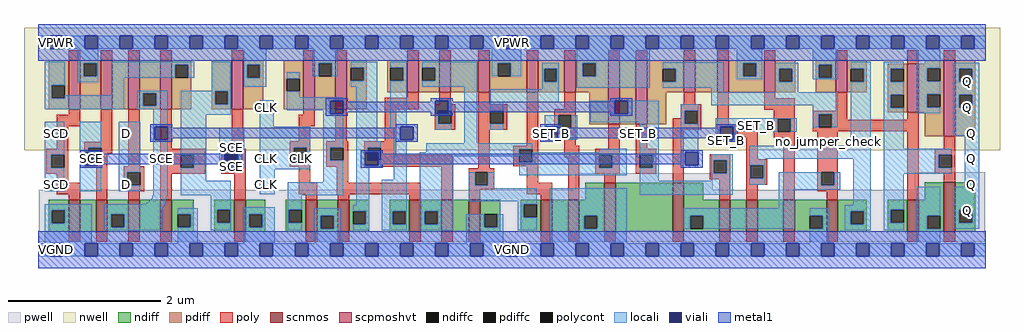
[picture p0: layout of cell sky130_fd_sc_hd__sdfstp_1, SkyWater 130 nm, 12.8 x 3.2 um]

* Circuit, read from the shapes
.subckt sky130_fd_sc_hd__sdfstp_1 CLK D SCD SCE SET_B VGND VNB VPB VPWR Q
XM1 n1 SCD VGND VNB sky130_fd_pr__nfet_01v8 w=0.42 l=0.15
XM2 n2 SCE n1 VNB sky130_fd_pr__nfet_01v8 w=0.42 l=0.15
XM3 n3 D n2 VNB sky130_fd_pr__nfet_01v8 w=0.42 l=0.15
XM4 VGND n4 n3 VNB sky130_fd_pr__nfet_01v8 w=0.42 l=0.15
XM5 VGND SCE n4 VNB sky130_fd_pr__nfet_01v8 w=0.42 l=0.15
XM6 VGND CLK n5 VNB sky130_fd_pr__nfet_01v8 w=0.42 l=0.15
XM7 n6 n5 VGND VNB sky130_fd_pr__nfet_01v8 w=0.42 l=0.15
XM8 n7 n5 n2 VNB sky130_fd_pr__nfet_01v8 w=0.42 l=0.15
XM9 n8 n6 n7 VNB sky130_fd_pr__nfet_01v8 w=0.42 l=0.15
XM10 VGND n9 n8 VNB sky130_fd_pr__nfet_01v8 w=0.42 l=0.15
XM11 n10 n7 n9 VNB sky130_fd_pr__nfet_01v8 w=0.42 l=0.15
XM12 VGND SET_B n10 VNB sky130_fd_pr__nfet_01v8 w=0.42 l=0.15
XM13 n11 n7 VGND VNB sky130_fd_pr__nfet_01v8 w=0.64 l=0.15
XM14 n12 n6 n11 VNB sky130_fd_pr__nfet_01v8 w=0.64 l=0.15
XM15 n13 n5 n12 VNB sky130_fd_pr__nfet_01v8 w=0.42 l=0.15
XM16 n14 n15 n13 VNB sky130_fd_pr__nfet_01v8 w=0.42 l=0.15
XM17 VGND SET_B n14 VNB sky130_fd_pr__nfet_01v8 w=0.42 l=0.15
XM18 n15 n12 VGND VNB sky130_fd_pr__nfet_01v8 w=0.42 l=0.15
XM19 VGND n12 n16 VNB sky130_fd_pr__nfet_01v8 w=0.42 l=0.15
XM20 Q n16 VGND VNB sky130_fd_pr__nfet_01v8 w=0.65 l=0.15
XM21 VPWR SCD n17 VPB sky130_fd_pr__pfet_01v8_hvt w=0.64 l=0.15
XM22 n18 SCE VPWR VPB sky130_fd_pr__pfet_01v8_hvt w=0.64 l=0.15
XM23 n2 D n18 VPB sky130_fd_pr__pfet_01v8_hvt w=0.64 l=0.15
XM24 n17 n4 n2 VPB sky130_fd_pr__pfet_01v8_hvt w=0.64 l=0.15
XM25 VPWR SCE n4 VPB sky130_fd_pr__pfet_01v8_hvt w=0.64 l=0.15
XM26 VPWR CLK n5 VPB sky130_fd_pr__pfet_01v8_hvt w=0.64 l=0.15
XM27 n6 n5 VPWR VPB sky130_fd_pr__pfet_01v8_hvt w=0.64 l=0.15
XM28 n7 n6 n2 VPB sky130_fd_pr__pfet_01v8_hvt w=0.42 l=0.15
XM29 n19 n5 n7 VPB sky130_fd_pr__pfet_01v8_hvt w=0.42 l=0.15
XM30 VPWR n9 n19 VPB sky130_fd_pr__pfet_01v8_hvt w=0.42 l=0.15
XM31 n9 n7 VPWR VPB sky130_fd_pr__pfet_01v8_hvt w=0.42 l=0.15
XM32 VPWR SET_B n9 VPB sky130_fd_pr__pfet_01v8_hvt w=0.42 l=0.15
XM33 n20 n7 VPWR VPB sky130_fd_pr__pfet_01v8_hvt w=0.84 l=0.15
XM34 n12 n5 n20 VPB sky130_fd_pr__pfet_01v8_hvt w=0.84 l=0.15
XM35 n21 n6 n12 VPB sky130_fd_pr__pfet_01v8_hvt w=0.42 l=0.15
XM36 VPWR n15 n21 VPB sky130_fd_pr__pfet_01v8_hvt w=0.42 l=0.15
XM37 n12 SET_B VPWR VPB sky130_fd_pr__pfet_01v8_hvt w=0.42 l=0.15
XM38 n15 n12 VPWR VPB sky130_fd_pr__pfet_01v8_hvt w=0.42 l=0.15
XM39 VPWR n12 n16 VPB sky130_fd_pr__pfet_01v8_hvt w=0.64 l=0.15
XM40 Q n16 VPWR VPB sky130_fd_pr__pfet_01v8_hvt w=1 l=0.15
.ends

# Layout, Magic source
magic
tech sky130A
magscale 1 2
<< nwell >>
rect -38 261 2522 582
<< pwell >>
rect 1408 157 1769 201
rect 2299 157 2483 203
rect 1 21 2483 157
rect 29 -17 63 21
<< scnmos >>
rect 79 47 109 131
rect 151 47 181 131
rect 235 47 265 131
rect 319 47 349 131
rect 513 47 543 131
rect 701 47 731 131
rect 785 47 815 131
rect 973 47 1003 131
rect 1057 47 1087 131
rect 1129 47 1159 131
rect 1317 47 1347 131
rect 1389 47 1419 131
rect 1484 47 1514 175
rect 1663 47 1693 175
rect 1785 47 1815 131
rect 1857 47 1887 131
rect 1953 47 1983 131
rect 2067 47 2097 131
rect 2279 47 2309 131
rect 2375 47 2405 177
<< scpmoshvt >>
rect 79 369 109 497
rect 163 369 193 497
rect 235 369 265 497
rect 319 369 349 497
rect 507 369 537 497
rect 695 369 725 497
rect 779 369 809 497
rect 967 413 997 497
rect 1051 413 1081 497
rect 1153 413 1183 497
rect 1281 413 1311 497
rect 1379 413 1409 497
rect 1495 329 1525 497
rect 1567 329 1597 497
rect 1693 413 1723 497
rect 1781 413 1811 497
rect 1903 413 1933 497
rect 2091 413 2121 497
rect 2279 360 2309 488
rect 2375 297 2405 497
<< ndiff >>
rect 1434 131 1484 175
rect 27 103 79 131
rect 27 69 35 103
rect 69 69 79 103
rect 27 47 79 69
rect 109 47 151 131
rect 181 93 235 131
rect 181 59 191 93
rect 225 59 235 93
rect 181 47 235 59
rect 265 47 319 131
rect 349 93 407 131
rect 349 59 365 93
rect 399 59 407 93
rect 349 47 407 59
rect 461 105 513 131
rect 461 71 469 105
rect 503 71 513 105
rect 461 47 513 71
rect 543 93 595 131
rect 543 59 553 93
rect 587 59 595 93
rect 543 47 595 59
rect 649 105 701 131
rect 649 71 657 105
rect 691 71 701 105
rect 649 47 701 71
rect 731 89 785 131
rect 731 55 741 89
rect 775 55 785 89
rect 731 47 785 55
rect 815 101 867 131
rect 815 67 825 101
rect 859 67 867 101
rect 815 47 867 67
rect 921 101 973 131
rect 921 67 929 101
rect 963 67 973 101
rect 921 47 973 67
rect 1003 101 1057 131
rect 1003 67 1013 101
rect 1047 67 1057 101
rect 1003 47 1057 67
rect 1087 47 1129 131
rect 1159 93 1211 131
rect 1159 59 1169 93
rect 1203 59 1211 93
rect 1159 47 1211 59
rect 1265 119 1317 131
rect 1265 85 1273 119
rect 1307 85 1317 119
rect 1265 47 1317 85
rect 1347 47 1389 131
rect 1419 89 1484 131
rect 1419 55 1431 89
rect 1465 55 1484 89
rect 1419 47 1484 55
rect 1514 47 1663 175
rect 1693 131 1743 175
rect 2325 131 2375 177
rect 1693 89 1785 131
rect 1693 55 1709 89
rect 1743 55 1785 89
rect 1693 47 1785 55
rect 1815 47 1857 131
rect 1887 47 1953 131
rect 1983 89 2067 131
rect 1983 55 2023 89
rect 2057 55 2067 89
rect 1983 47 2067 55
rect 2097 101 2173 131
rect 2097 67 2131 101
rect 2165 67 2173 101
rect 2097 47 2173 67
rect 2227 105 2279 131
rect 2227 71 2235 105
rect 2269 71 2279 105
rect 2227 47 2279 71
rect 2309 89 2375 131
rect 2309 55 2331 89
rect 2365 55 2375 89
rect 2309 47 2375 55
rect 2405 105 2457 177
rect 2405 71 2415 105
rect 2449 71 2457 105
rect 2405 47 2457 71
<< pdiff >>
rect 27 431 79 497
rect 27 397 35 431
rect 69 397 79 431
rect 27 369 79 397
rect 109 489 163 497
rect 109 455 119 489
rect 153 455 163 489
rect 109 369 163 455
rect 193 369 235 497
rect 265 411 319 497
rect 265 377 275 411
rect 309 377 319 411
rect 265 369 319 377
rect 349 485 401 497
rect 349 451 359 485
rect 393 451 401 485
rect 349 369 401 451
rect 455 415 507 497
rect 455 381 463 415
rect 497 381 507 415
rect 455 369 507 381
rect 537 485 589 497
rect 537 451 547 485
rect 581 451 589 485
rect 537 369 589 451
rect 643 449 695 497
rect 643 415 651 449
rect 685 415 695 449
rect 643 369 695 415
rect 725 489 779 497
rect 725 455 735 489
rect 769 455 779 489
rect 725 369 779 455
rect 809 477 861 497
rect 809 443 819 477
rect 853 443 861 477
rect 809 369 861 443
rect 915 477 967 497
rect 915 443 923 477
rect 957 443 967 477
rect 915 413 967 443
rect 997 477 1051 497
rect 997 443 1007 477
rect 1041 443 1051 477
rect 997 413 1051 443
rect 1081 413 1153 497
rect 1183 489 1281 497
rect 1183 455 1205 489
rect 1239 455 1281 489
rect 1183 413 1281 455
rect 1311 474 1379 497
rect 1311 440 1326 474
rect 1360 440 1379 474
rect 1311 413 1379 440
rect 1409 489 1495 497
rect 1409 455 1428 489
rect 1462 455 1495 489
rect 1409 413 1495 455
rect 1445 329 1495 413
rect 1525 329 1567 497
rect 1597 475 1693 497
rect 1597 441 1637 475
rect 1671 441 1693 475
rect 1597 413 1693 441
rect 1723 413 1781 497
rect 1811 489 1903 497
rect 1811 455 1848 489
rect 1882 455 1903 489
rect 1811 413 1903 455
rect 1933 474 1985 497
rect 1933 440 1943 474
rect 1977 440 1985 474
rect 1933 413 1985 440
rect 2039 485 2091 497
rect 2039 451 2047 485
rect 2081 451 2091 485
rect 2039 413 2091 451
rect 2121 474 2173 497
rect 2325 488 2375 497
rect 2121 440 2131 474
rect 2165 440 2173 474
rect 2121 413 2173 440
rect 2227 474 2279 488
rect 2227 440 2235 474
rect 2269 440 2279 474
rect 1597 329 1647 413
rect 2227 406 2279 440
rect 2227 372 2235 406
rect 2269 372 2279 406
rect 2227 360 2279 372
rect 2309 476 2375 488
rect 2309 442 2331 476
rect 2365 442 2375 476
rect 2309 408 2375 442
rect 2309 374 2331 408
rect 2365 374 2375 408
rect 2309 360 2375 374
rect 2325 297 2375 360
rect 2405 474 2457 497
rect 2405 440 2415 474
rect 2449 440 2457 474
rect 2405 406 2457 440
rect 2405 372 2415 406
rect 2449 372 2457 406
rect 2405 297 2457 372
<< ndiffc >>
rect 35 69 69 103
rect 191 59 225 93
rect 365 59 399 93
rect 469 71 503 105
rect 553 59 587 93
rect 657 71 691 105
rect 741 55 775 89
rect 825 67 859 101
rect 929 67 963 101
rect 1013 67 1047 101
rect 1169 59 1203 93
rect 1273 85 1307 119
rect 1431 55 1465 89
rect 1709 55 1743 89
rect 2023 55 2057 89
rect 2131 67 2165 101
rect 2235 71 2269 105
rect 2331 55 2365 89
rect 2415 71 2449 105
<< pdiffc >>
rect 35 397 69 431
rect 119 455 153 489
rect 275 377 309 411
rect 359 451 393 485
rect 463 381 497 415
rect 547 451 581 485
rect 651 415 685 449
rect 735 455 769 489
rect 819 443 853 477
rect 923 443 957 477
rect 1007 443 1041 477
rect 1205 455 1239 489
rect 1326 440 1360 474
rect 1428 455 1462 489
rect 1637 441 1671 475
rect 1848 455 1882 489
rect 1943 440 1977 474
rect 2047 451 2081 485
rect 2131 440 2165 474
rect 2235 440 2269 474
rect 2235 372 2269 406
rect 2331 442 2365 476
rect 2331 374 2365 408
rect 2415 440 2449 474
rect 2415 372 2449 406
<< poly >>
rect 79 497 109 523
rect 163 497 193 523
rect 235 497 265 523
rect 319 497 349 523
rect 507 497 537 523
rect 695 497 725 523
rect 779 497 809 523
rect 967 497 997 523
rect 1051 497 1081 523
rect 1153 497 1183 523
rect 1281 497 1311 523
rect 1379 497 1409 523
rect 1495 497 1525 523
rect 1567 497 1597 523
rect 1693 497 1723 523
rect 1781 497 1811 523
rect 1903 497 1933 523
rect 2091 497 2121 523
rect 967 398 997 413
rect 79 354 109 369
rect 48 324 109 354
rect 48 265 78 324
rect 163 283 193 369
rect 21 249 78 265
rect 21 215 34 249
rect 68 215 78 249
rect 120 267 193 283
rect 120 233 130 267
rect 164 253 193 267
rect 164 233 181 253
rect 120 217 181 233
rect 235 219 265 369
rect 319 265 349 369
rect 507 265 537 369
rect 695 354 725 369
rect 683 324 725 354
rect 683 284 713 324
rect 779 284 809 369
rect 908 368 997 398
rect 1051 381 1081 413
rect 1153 381 1183 413
rect 908 284 938 368
rect 1039 365 1093 381
rect 1039 331 1049 365
rect 1083 331 1093 365
rect 1039 315 1093 331
rect 1153 365 1229 381
rect 1153 331 1185 365
rect 1219 331 1229 365
rect 1153 315 1229 331
rect 659 268 713 284
rect 319 249 438 265
rect 21 199 78 215
rect 48 176 78 199
rect 48 146 109 176
rect 79 131 109 146
rect 151 131 181 217
rect 223 203 277 219
rect 223 169 233 203
rect 267 169 277 203
rect 223 153 277 169
rect 319 215 373 249
rect 407 215 438 249
rect 319 199 438 215
rect 480 249 543 265
rect 480 215 490 249
rect 524 215 543 249
rect 659 234 669 268
rect 703 234 713 268
rect 659 218 713 234
rect 755 268 812 284
rect 755 234 765 268
rect 799 234 812 268
rect 755 218 812 234
rect 854 268 938 284
rect 854 234 864 268
rect 898 248 938 268
rect 898 234 1087 248
rect 854 218 1087 234
rect 480 199 543 215
rect 235 131 265 153
rect 319 131 349 199
rect 513 131 543 199
rect 683 176 713 218
rect 782 176 812 218
rect 683 146 731 176
rect 782 146 1003 176
rect 701 131 731 146
rect 785 131 815 146
rect 973 131 1003 146
rect 1057 131 1087 218
rect 1153 213 1183 315
rect 1281 273 1311 413
rect 1379 369 1409 413
rect 1353 353 1409 369
rect 1353 319 1363 353
rect 1397 319 1409 353
rect 2279 488 2309 523
rect 2375 497 2405 523
rect 1693 381 1723 413
rect 1685 365 1739 381
rect 1685 345 1695 365
rect 1663 331 1695 345
rect 1729 331 1739 365
rect 1353 303 1409 319
rect 1245 263 1311 273
rect 1245 229 1261 263
rect 1295 229 1311 263
rect 1379 273 1409 303
rect 1379 243 1419 273
rect 1495 265 1525 329
rect 1245 219 1311 229
rect 1129 203 1195 213
rect 1129 169 1145 203
rect 1179 169 1195 203
rect 1129 159 1195 169
rect 1281 176 1311 219
rect 1129 131 1159 159
rect 1281 146 1347 176
rect 1317 131 1347 146
rect 1389 131 1419 243
rect 1461 249 1525 265
rect 1461 215 1471 249
rect 1505 215 1525 249
rect 1461 199 1525 215
rect 1567 265 1597 329
rect 1663 315 1739 331
rect 1781 325 1811 413
rect 1903 397 1933 413
rect 1903 367 1983 397
rect 1929 343 1983 367
rect 2091 365 2121 413
rect 1567 249 1621 265
rect 1567 215 1577 249
rect 1611 215 1621 249
rect 1567 199 1621 215
rect 1484 175 1514 199
rect 1663 175 1693 315
rect 1781 295 1887 325
rect 1761 235 1815 251
rect 1761 201 1771 235
rect 1805 201 1815 235
rect 1761 185 1815 201
rect 1785 131 1815 185
rect 1857 237 1887 295
rect 1929 309 1939 343
rect 1973 309 1983 343
rect 2031 355 2121 365
rect 2031 321 2047 355
rect 2081 341 2121 355
rect 2279 341 2309 360
rect 2081 321 2309 341
rect 2031 311 2309 321
rect 1929 293 1983 309
rect 1857 221 1911 237
rect 1857 187 1867 221
rect 1901 187 1911 221
rect 1857 171 1911 187
rect 1857 131 1887 171
rect 1953 131 1983 293
rect 2043 203 2097 311
rect 2043 169 2053 203
rect 2087 169 2097 203
rect 2043 153 2097 169
rect 2067 131 2097 153
rect 2279 131 2309 311
rect 2375 265 2405 297
rect 2351 249 2405 265
rect 2351 215 2361 249
rect 2395 215 2405 249
rect 2351 199 2405 215
rect 2375 177 2405 199
rect 79 21 109 47
rect 151 21 181 47
rect 235 21 265 47
rect 319 21 349 47
rect 513 21 543 47
rect 701 21 731 47
rect 785 21 815 47
rect 973 21 1003 47
rect 1057 21 1087 47
rect 1129 21 1159 47
rect 1317 21 1347 47
rect 1389 21 1419 47
rect 1484 21 1514 47
rect 1663 21 1693 47
rect 1785 21 1815 47
rect 1857 21 1887 47
rect 1953 21 1983 47
rect 2067 21 2097 47
rect 2279 21 2309 47
rect 2375 21 2405 47
<< polycont >>
rect 34 215 68 249
rect 130 233 164 267
rect 1049 331 1083 365
rect 1185 331 1219 365
rect 233 169 267 203
rect 373 215 407 249
rect 490 215 524 249
rect 669 234 703 268
rect 765 234 799 268
rect 864 234 898 268
rect 1363 319 1397 353
rect 1695 331 1729 365
rect 1261 229 1295 263
rect 1145 169 1179 203
rect 1471 215 1505 249
rect 1577 215 1611 249
rect 1771 201 1805 235
rect 1939 309 1973 343
rect 2047 321 2081 355
rect 1867 187 1901 221
rect 2053 169 2087 203
rect 2361 215 2395 249
<< locali >>
rect 0 527 29 561
rect 63 527 121 561
rect 155 527 213 561
rect 247 527 305 561
rect 339 527 397 561
rect 431 527 489 561
rect 523 527 581 561
rect 615 527 673 561
rect 707 527 765 561
rect 799 527 857 561
rect 891 527 949 561
rect 983 527 1041 561
rect 1075 527 1133 561
rect 1167 527 1225 561
rect 1259 527 1317 561
rect 1351 527 1409 561
rect 1443 527 1501 561
rect 1535 527 1593 561
rect 1627 527 1685 561
rect 1719 527 1777 561
rect 1811 527 1869 561
rect 1903 527 1961 561
rect 1995 527 2053 561
rect 2087 527 2145 561
rect 2179 527 2237 561
rect 2271 527 2329 561
rect 2363 527 2421 561
rect 2455 527 2484 561
rect 17 431 69 493
rect 103 489 157 527
rect 103 455 119 489
rect 153 455 157 489
rect 103 439 157 455
rect 191 485 409 493
rect 191 451 359 485
rect 393 451 409 485
rect 17 397 35 431
rect 191 405 225 451
rect 454 417 504 493
rect 538 485 597 527
rect 538 451 547 485
rect 581 451 597 485
rect 719 489 785 527
rect 538 428 597 451
rect 651 449 685 465
rect 719 455 735 489
rect 769 455 785 489
rect 819 477 888 493
rect 69 397 225 405
rect 17 369 225 397
rect 259 411 339 417
rect 259 377 275 411
rect 309 377 339 411
rect 259 369 339 377
rect 17 249 68 335
rect 17 215 34 249
rect 17 153 68 215
rect 108 267 164 335
rect 108 255 130 267
rect 108 221 121 255
rect 155 221 164 233
rect 108 153 164 221
rect 210 203 267 335
rect 210 169 233 203
rect 210 153 267 169
rect 301 323 339 369
rect 301 289 305 323
rect 301 142 339 289
rect 373 415 504 417
rect 373 381 463 415
rect 497 381 504 415
rect 853 443 888 477
rect 819 427 888 443
rect 651 400 685 415
rect 651 398 797 400
rect 373 354 504 381
rect 373 249 440 354
rect 581 323 617 392
rect 651 391 799 398
rect 651 366 765 391
rect 747 357 765 366
rect 407 215 440 249
rect 474 255 540 320
rect 474 221 489 255
rect 523 249 540 255
rect 474 215 490 221
rect 524 215 540 249
rect 581 268 713 323
rect 581 234 669 268
rect 703 234 713 268
rect 373 181 440 215
rect 581 211 713 234
rect 747 268 799 357
rect 747 234 765 268
rect 373 143 504 181
rect 581 145 620 211
rect 747 177 799 234
rect 301 141 335 142
rect 299 133 335 141
rect 295 132 335 133
rect 295 129 334 132
rect 292 127 333 129
rect 289 126 333 127
rect 288 124 333 126
rect 286 123 332 124
rect 284 122 332 123
rect 281 121 332 122
rect 279 120 332 121
rect 276 119 332 120
rect 17 103 140 119
rect 17 69 35 103
rect 69 69 140 103
rect 17 17 140 69
rect 174 115 330 119
rect 174 111 328 115
rect 174 93 325 111
rect 174 59 191 93
rect 225 59 325 93
rect 174 51 325 59
rect 365 93 418 109
rect 399 59 418 93
rect 365 17 418 59
rect 452 105 504 143
rect 654 143 799 177
rect 833 284 888 427
rect 923 477 966 493
rect 957 443 966 477
rect 923 323 966 443
rect 1007 477 1151 493
rect 1041 443 1151 477
rect 1189 489 1266 527
rect 1189 455 1205 489
rect 1239 455 1266 489
rect 1321 474 1364 490
rect 1007 427 1151 443
rect 1075 365 1083 391
rect 1041 331 1049 357
rect 923 318 949 323
rect 932 289 949 318
rect 1041 315 1083 331
rect 833 268 898 284
rect 833 255 864 268
rect 833 221 857 255
rect 891 221 898 234
rect 833 218 898 221
rect 452 71 469 105
rect 503 71 504 105
rect 452 51 504 71
rect 538 93 620 111
rect 538 59 553 93
rect 587 59 620 93
rect 538 17 620 59
rect 654 105 691 143
rect 833 117 867 218
rect 932 184 966 289
rect 1117 279 1151 427
rect 1321 440 1326 474
rect 1360 440 1364 474
rect 1321 421 1364 440
rect 1412 489 1603 527
rect 1412 455 1428 489
rect 1462 455 1603 489
rect 1412 425 1603 455
rect 1637 475 1798 492
rect 1671 441 1798 475
rect 1832 489 1898 527
rect 1832 455 1848 489
rect 1882 455 1898 489
rect 1832 447 1898 455
rect 1932 474 1993 490
rect 1637 425 1798 441
rect 1185 387 1364 421
rect 1764 413 1798 425
rect 1932 440 1943 474
rect 1977 440 1993 474
rect 2031 485 2097 527
rect 2031 451 2047 485
rect 2081 451 2097 485
rect 2031 447 2097 451
rect 2131 474 2183 493
rect 1932 413 1993 440
rect 2165 440 2183 474
rect 1185 365 1219 387
rect 1447 357 1512 391
rect 1546 357 1627 391
rect 1185 315 1219 331
rect 1328 323 1363 353
rect 1362 319 1363 323
rect 1397 319 1413 353
rect 1447 334 1627 357
rect 1362 289 1413 319
rect 1017 263 1295 279
rect 1017 255 1261 263
rect 654 71 657 105
rect 654 51 691 71
rect 725 89 791 109
rect 725 55 741 89
rect 775 55 791 89
rect 725 17 791 55
rect 825 101 867 117
rect 859 67 867 101
rect 825 51 867 67
rect 901 101 966 184
rect 901 67 929 101
rect 963 67 966 101
rect 901 51 966 67
rect 1000 245 1261 255
rect 1000 101 1088 245
rect 1471 255 1543 265
rect 1295 249 1543 255
rect 1295 229 1471 249
rect 1261 215 1471 229
rect 1505 215 1543 249
rect 1129 169 1145 203
rect 1179 169 1195 203
rect 1261 195 1543 215
rect 1577 249 1627 334
rect 1611 215 1627 249
rect 1685 365 1730 381
rect 1764 379 2097 413
rect 1685 331 1695 365
rect 1729 331 1730 365
rect 2031 355 2097 379
rect 1685 255 1730 331
rect 1776 343 1989 345
rect 1776 323 1939 343
rect 1776 289 1788 323
rect 1822 309 1939 323
rect 1973 309 1989 343
rect 2031 321 2047 355
rect 2081 321 2097 355
rect 1822 289 1827 309
rect 1776 285 1827 289
rect 2131 273 2183 440
rect 1685 221 1696 255
rect 1685 215 1730 221
rect 1764 235 1821 251
rect 1129 161 1195 169
rect 1577 181 1627 215
rect 1764 201 1771 235
rect 1805 201 1821 235
rect 1764 181 1821 201
rect 1129 127 1307 161
rect 1000 67 1013 101
rect 1047 67 1088 101
rect 1257 119 1307 127
rect 1000 51 1088 67
rect 1122 59 1169 93
rect 1203 59 1219 93
rect 1122 17 1219 59
rect 1257 85 1273 119
rect 1257 51 1307 85
rect 1341 89 1543 161
rect 1577 144 1821 181
rect 1864 239 2183 273
rect 1864 221 1906 239
rect 1864 187 1867 221
rect 1901 187 1906 221
rect 1864 171 1906 187
rect 1942 169 2053 203
rect 2087 169 2103 203
rect 1942 157 2103 169
rect 1942 109 1982 157
rect 2137 117 2183 239
rect 1341 55 1431 89
rect 1465 55 1543 89
rect 1693 89 1982 109
rect 1693 55 1709 89
rect 1743 55 1982 89
rect 2023 89 2073 109
rect 2057 55 2073 89
rect 1341 17 1543 55
rect 2023 17 2073 55
rect 2115 101 2183 117
rect 2115 67 2131 101
rect 2165 67 2183 101
rect 2115 51 2183 67
rect 2217 474 2269 493
rect 2217 440 2235 474
rect 2217 406 2269 440
rect 2217 372 2235 406
rect 2217 265 2269 372
rect 2303 476 2365 527
rect 2303 442 2331 476
rect 2303 408 2365 442
rect 2303 374 2331 408
rect 2303 358 2365 374
rect 2399 474 2467 490
rect 2399 440 2415 474
rect 2449 440 2467 474
rect 2399 406 2467 440
rect 2399 372 2415 406
rect 2449 372 2467 406
rect 2399 299 2467 372
rect 2217 249 2395 265
rect 2217 215 2361 249
rect 2217 199 2395 215
rect 2217 105 2269 199
rect 2429 165 2467 299
rect 2217 71 2235 105
rect 2217 51 2269 71
rect 2303 89 2365 165
rect 2303 55 2331 89
rect 2399 105 2467 165
rect 2399 71 2415 105
rect 2449 71 2467 105
rect 2399 55 2467 71
rect 2303 17 2365 55
rect 0 -17 29 17
rect 63 -17 121 17
rect 155 -17 213 17
rect 247 -17 305 17
rect 339 -17 397 17
rect 431 -17 489 17
rect 523 -17 581 17
rect 615 -17 673 17
rect 707 -17 765 17
rect 799 -17 857 17
rect 891 -17 949 17
rect 983 -17 1041 17
rect 1075 -17 1133 17
rect 1167 -17 1225 17
rect 1259 -17 1317 17
rect 1351 -17 1409 17
rect 1443 -17 1501 17
rect 1535 -17 1593 17
rect 1627 -17 1685 17
rect 1719 -17 1777 17
rect 1811 -17 1869 17
rect 1903 -17 1961 17
rect 1995 -17 2053 17
rect 2087 -17 2145 17
rect 2179 -17 2237 17
rect 2271 -17 2329 17
rect 2363 -17 2421 17
rect 2455 -17 2484 17
<< viali >>
rect 29 527 63 561
rect 121 527 155 561
rect 213 527 247 561
rect 305 527 339 561
rect 397 527 431 561
rect 489 527 523 561
rect 581 527 615 561
rect 673 527 707 561
rect 765 527 799 561
rect 857 527 891 561
rect 949 527 983 561
rect 1041 527 1075 561
rect 1133 527 1167 561
rect 1225 527 1259 561
rect 1317 527 1351 561
rect 1409 527 1443 561
rect 1501 527 1535 561
rect 1593 527 1627 561
rect 1685 527 1719 561
rect 1777 527 1811 561
rect 1869 527 1903 561
rect 1961 527 1995 561
rect 2053 527 2087 561
rect 2145 527 2179 561
rect 2237 527 2271 561
rect 2329 527 2363 561
rect 2421 527 2455 561
rect 121 233 130 255
rect 130 233 155 255
rect 121 221 155 233
rect 305 289 339 323
rect 765 357 799 391
rect 489 249 523 255
rect 489 221 490 249
rect 490 221 523 249
rect 1041 365 1075 391
rect 1041 357 1049 365
rect 1049 357 1075 365
rect 949 289 983 323
rect 857 234 864 255
rect 864 234 891 255
rect 857 221 891 234
rect 1512 357 1546 391
rect 1328 289 1362 323
rect 1788 289 1822 323
rect 1696 221 1730 255
rect 29 -17 63 17
rect 121 -17 155 17
rect 213 -17 247 17
rect 305 -17 339 17
rect 397 -17 431 17
rect 489 -17 523 17
rect 581 -17 615 17
rect 673 -17 707 17
rect 765 -17 799 17
rect 857 -17 891 17
rect 949 -17 983 17
rect 1041 -17 1075 17
rect 1133 -17 1167 17
rect 1225 -17 1259 17
rect 1317 -17 1351 17
rect 1409 -17 1443 17
rect 1501 -17 1535 17
rect 1593 -17 1627 17
rect 1685 -17 1719 17
rect 1777 -17 1811 17
rect 1869 -17 1903 17
rect 1961 -17 1995 17
rect 2053 -17 2087 17
rect 2145 -17 2179 17
rect 2237 -17 2271 17
rect 2329 -17 2363 17
rect 2421 -17 2455 17
<< metal1 >>
rect 0 561 2484 592
rect 0 527 29 561
rect 63 527 121 561
rect 155 527 213 561
rect 247 527 305 561
rect 339 527 397 561
rect 431 527 489 561
rect 523 527 581 561
rect 615 527 673 561
rect 707 527 765 561
rect 799 527 857 561
rect 891 527 949 561
rect 983 527 1041 561
rect 1075 527 1133 561
rect 1167 527 1225 561
rect 1259 527 1317 561
rect 1351 527 1409 561
rect 1443 527 1501 561
rect 1535 527 1593 561
rect 1627 527 1685 561
rect 1719 527 1777 561
rect 1811 527 1869 561
rect 1903 527 1961 561
rect 1995 527 2053 561
rect 2087 527 2145 561
rect 2179 527 2237 561
rect 2271 527 2329 561
rect 2363 527 2421 561
rect 2455 527 2484 561
rect 0 496 2484 527
rect 753 391 811 397
rect 753 357 765 391
rect 799 388 811 391
rect 1029 391 1087 397
rect 1029 388 1041 391
rect 799 360 1041 388
rect 799 357 811 360
rect 753 351 811 357
rect 1029 357 1041 360
rect 1075 388 1087 391
rect 1500 391 1558 397
rect 1500 388 1512 391
rect 1075 360 1512 388
rect 1075 357 1087 360
rect 1029 351 1087 357
rect 1500 357 1512 360
rect 1546 357 1558 391
rect 1500 351 1558 357
rect 293 323 351 329
rect 293 289 305 323
rect 339 320 351 323
rect 937 323 995 329
rect 937 320 949 323
rect 339 292 949 320
rect 339 289 351 292
rect 293 283 351 289
rect 937 289 949 292
rect 983 289 995 323
rect 937 283 995 289
rect 1316 323 1374 329
rect 1316 289 1328 323
rect 1362 320 1374 323
rect 1776 323 1834 329
rect 1776 320 1788 323
rect 1362 292 1788 320
rect 1362 289 1374 292
rect 1316 283 1374 289
rect 1776 289 1788 292
rect 1822 289 1834 323
rect 1776 283 1834 289
rect 109 255 167 261
rect 109 221 121 255
rect 155 252 167 255
rect 477 255 535 261
rect 477 252 489 255
rect 155 224 489 252
rect 155 221 167 224
rect 109 215 167 221
rect 477 221 489 224
rect 523 221 535 255
rect 477 215 535 221
rect 845 255 903 261
rect 845 221 857 255
rect 891 252 903 255
rect 1684 255 1742 261
rect 1684 252 1696 255
rect 891 224 1696 252
rect 891 221 903 224
rect 845 215 903 221
rect 1684 221 1696 224
rect 1730 221 1742 255
rect 1684 215 1742 221
rect 0 17 2484 48
rect 0 -17 29 17
rect 63 -17 121 17
rect 155 -17 213 17
rect 247 -17 305 17
rect 339 -17 397 17
rect 431 -17 489 17
rect 523 -17 581 17
rect 615 -17 673 17
rect 707 -17 765 17
rect 799 -17 857 17
rect 891 -17 949 17
rect 983 -17 1041 17
rect 1075 -17 1133 17
rect 1167 -17 1225 17
rect 1259 -17 1317 17
rect 1351 -17 1409 17
rect 1443 -17 1501 17
rect 1535 -17 1593 17
rect 1627 -17 1685 17
rect 1719 -17 1777 17
rect 1811 -17 1869 17
rect 1903 -17 1961 17
rect 1995 -17 2053 17
rect 2087 -17 2145 17
rect 2179 -17 2237 17
rect 2271 -17 2329 17
rect 2363 -17 2421 17
rect 2455 -17 2484 17
rect 0 -48 2484 -17
<< labels >>
flabel locali s 29 153 63 187 0 FreeSans 200 0 0 0 SCD
port 3 nsew signal input
flabel locali s 581 357 615 391 0 FreeSans 200 0 0 0 CLK
port 1 nsew clock input
flabel locali s 213 289 247 323 0 FreeSans 200 0 0 0 D
port 2 nsew signal input
flabel locali s 29 289 63 323 0 FreeSans 200 0 0 0 SCD
port 3 nsew signal input
flabel locali s 1328 289 1362 323 0 FreeSans 200 0 0 0 SET_B
port 5 nsew signal input
flabel locali s 121 221 155 255 0 FreeSans 200 0 0 0 SCE
port 4 nsew signal input
flabel locali s 213 153 247 187 0 FreeSans 200 0 0 0 D
port 2 nsew signal input
flabel locali s 581 221 615 255 0 FreeSans 200 0 0 0 CLK
port 1 nsew clock input
flabel locali s 581 153 615 187 0 FreeSans 200 0 0 0 CLK
port 1 nsew clock input
flabel locali s 673 221 707 255 0 FreeSans 200 0 0 0 CLK
port 1 nsew clock input
flabel locali s 2421 357 2455 391 0 FreeSans 200 0 0 0 Q
port 10 nsew signal output
flabel locali s 2421 425 2455 459 0 FreeSans 200 0 0 0 Q
port 10 nsew signal output
flabel locali s 2429 221 2463 255 0 FreeSans 200 0 0 0 Q
port 10 nsew signal output
flabel locali s 2429 153 2463 187 0 FreeSans 200 0 0 0 Q
port 10 nsew signal output
flabel locali s 2421 85 2455 119 0 FreeSans 200 0 0 0 Q
port 10 nsew signal output
flabel locali s 2429 289 2463 323 0 FreeSans 200 0 0 0 Q
port 10 nsew signal output
flabel metal1 s 29 527 63 561 0 FreeSans 200 0 0 0 VPWR
port 9 nsew power bidirectional abutment
flabel metal1 s 29 -17 63 17 0 FreeSans 200 0 0 0 VGND
port 6 nsew ground bidirectional abutment
flabel nwell s 29 527 63 561 0 FreeSans 200 0 0 0 VPB
port 8 nsew power bidirectional
flabel pwell s 29 -17 63 17 0 FreeSans 200 0 0 0 VNB
port 7 nsew ground bidirectional
rlabel comment s 0 0 0 0 4 sdfstp_1
flabel comment s 1167 290 1167 290 0 FreeSans 200 0 0 0 no_jumper_check
flabel comment s 2072 283 2072 283 0 FreeSans 200 0 0 0 no_jumper_check
rlabel locali s 474 215 540 320 1 SCE
port 4 nsew signal input
rlabel metal1 s 477 252 535 261 1 SCE
port 4 nsew signal input
rlabel metal1 s 477 215 535 224 1 SCE
port 4 nsew signal input
rlabel metal1 s 109 252 167 261 1 SCE
port 4 nsew signal input
rlabel metal1 s 109 224 535 252 1 SCE
port 4 nsew signal input
rlabel metal1 s 109 215 167 224 1 SCE
port 4 nsew signal input
rlabel locali s 1776 309 1989 345 1 SET_B
port 5 nsew signal input
rlabel locali s 1776 285 1827 309 1 SET_B
port 5 nsew signal input
rlabel metal1 s 1776 320 1834 329 1 SET_B
port 5 nsew signal input
rlabel metal1 s 1776 283 1834 292 1 SET_B
port 5 nsew signal input
rlabel metal1 s 1316 320 1374 329 1 SET_B
port 5 nsew signal input
rlabel metal1 s 1316 292 1834 320 1 SET_B
port 5 nsew signal input
rlabel metal1 s 1316 283 1374 292 1 SET_B
port 5 nsew signal input
rlabel metal1 s 0 -48 2484 48 1 VGND
port 6 nsew ground bidirectional abutment
rlabel metal1 s 0 496 2484 592 1 VPWR
port 9 nsew power bidirectional abutment
<< properties >>
string FIXED_BBOX 0 0 2484 544
string GDS_END 283974
string GDS_FILE $PDKPATH/libs.ref/sky130_fd_sc_hd/gds/sky130_fd_sc_hd.gds
string GDS_START 264382
string LEFclass CORE
string LEFsite unithd
string LEFsymmetry X Y R90
string path 0.000 2.720 12.420 2.720 
<< end >>
